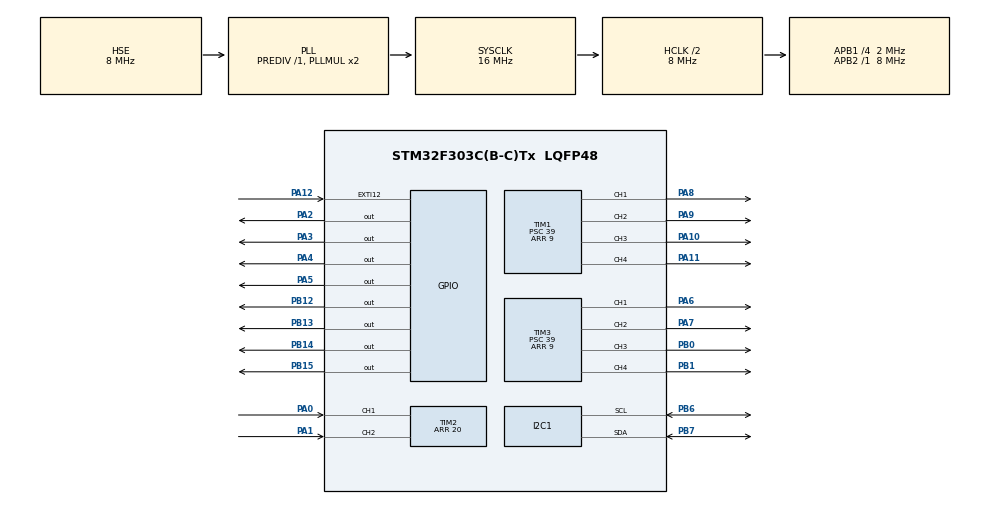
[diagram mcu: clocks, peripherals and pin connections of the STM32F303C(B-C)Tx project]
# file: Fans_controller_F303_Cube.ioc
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FREERTOS.Tasks01=updateScreen,0,256,StartDefaultTask,Default,NULL,Dynamic,NULL,NULL;configuringPara,0,256,StartTask02,Default,NULL,Dynamic,NULL,NULL
FREERTOS.configTOTAL_HEAP_SIZE=2560
IWDG.Prescaler=IWDG_PRESCALER_32
IWDG.Reload=2499
IWDG.Window=2499
Mcu.Family=STM32F3
Mcu.Name=STM32F303C(B-C)Tx
Mcu.Package=LQFP48
NVIC.EXTI15_10_IRQn=true\:5\:0\:false\:false\:true\:true\:true\:true
NVIC.PriorityGroup=NVIC_PRIORITYGROUP_4
NVIC.RTC_Alarm_IRQn=true\:5\:0\:false\:false\:true\:true\:true\:true
NVIC.TIM1_TRG_COM_TIM17_IRQn=true\:5\:0\:false\:false\:true\:false\:false\:true
NVIC.TIM2_IRQn=true\:5\:0\:false\:false\:true\:true\:true\:true
NVIC.TIM4_IRQn=true\:5\:0\:false\:false\:true\:true\:true\:true
NVIC.TIM6_DAC_IRQn=true\:5\:0\:false\:false\:true\:true\:true\:true
NVIC.TIM8_UP_IRQn=true\:0\:0\:false\:false\:true\:false\:false\:true
NVIC.TimeBase=TIM8_UP_IRQn
NVIC.TimeBaseIP=TIM8
PA0.GPIO_PuPd=GPIO_PULLUP
PA0.Signal=S_TIM2_CH1_ETR
PA1.GPIO_PuPd=GPIO_PULLUP
PA1.Signal=S_TIM2_CH2
PA10.Signal=S_TIM1_CH3
PA11.Signal=S_TIM1_CH4
PA12.GPIO_PuPd=GPIO_PULLDOWN
PA12.Signal=GPXTI12
PA13.Mode=Trace_Asynchronous_SW
PA13.Signal=SYS_JTMS-SWDIO
PA14.Mode=Trace_Asynchronous_SW
PA14.Signal=SYS_JTCK-SWCLK
PA2.Signal=GPIO_Output
PA3.Signal=GPIO_Output
PA4.Signal=GPIO_Output
PA5.Signal=GPIO_Output
PA6.Signal=S_TIM3_CH1
PA7.Signal=S_TIM3_CH2
PA8.Signal=S_TIM1_CH1
PA9.Signal=S_TIM1_CH2
PB0.Signal=S_TIM3_CH3
PB1.Signal=S_TIM3_CH4
PB12.GPIO_PuPd=GPIO_PULLDOWN
PB12.GPIO_Speed=GPIO_SPEED_FREQ_MEDIUM
PB12.PinState=GPIO_PIN_RESET
PB12.Signal=GPIO_Output
PB13.Signal=GPIO_Output
PB14.Signal=GPIO_Output
PB15.Signal=GPIO_Output
PB3.Mode=Trace_Asynchronous_SW
PB3.Signal=SYS_JTDO-TRACESWO
PB6.Mode=I2C
PB6.Signal=I2C1_SCL
PB7.Mode=I2C
PB7.Signal=I2C1_SDA
PC14-OSC32_IN.Mode=LSE-External-Oscillator
PC14-OSC32_IN.Signal=RCC_OSC32_IN
PC15-OSC32_OUT.Mode=LSE-External-Oscillator
PC15-OSC32_OUT.Signal=RCC_OSC32_OUT
PF0-OSC_IN.Mode=HSE-External-Oscillator
PF0-OSC_IN.Signal=RCC_OSC_IN
PF1-OSC_OUT.Mode=HSE-External-Oscillator
PF1-OSC_OUT.Signal=RCC_OSC_OUT
ProjectManager.HeapSize=0x800
ProjectManager.StackSize=0x800
ProjectManager.TargetToolchain=STM32CubeIDE
RCC.AHBCLKDivider=RCC_SYSCLK_DIV2
RCC.AHBFreq_Value=8000000
RCC.APB1CLKDivider=RCC_HCLK_DIV4
RCC.APB1Freq_Value=2000000
RCC.APB1TimFreq_Value=4000000
RCC.APB2Freq_Value=8000000
RCC.APB2TimFreq_Value=8000000
RCC.CortexFreq_Value=8000000
RCC.HCLKFreq_Value=8000000
RCC.HSE_VALUE=8000000
RCC.HSI_VALUE=8000000
RCC.PLLSourceVirtual=RCC_PLLSOURCE_HSE
RCC.RTCClockSelection=RCC_RTCCLKSOURCE_LSE
RCC.SYSCLKFreq_VALUE=16000000
RCC.SYSCLKSourceVirtual=RCC_SYSCLKSOURCE_PLLCLK
RCC.USBFreq_Value=16000000
RTC.Alarm-Alarm\ A=RTC_ALARM_A
RTC.AlarmMaskDateWeekDay-Alarm\ A=RTC_ALARMMASK_DATEWEEKDAY
RTC.Format=RTC_FORMAT_BIN
RTC.Hours=23
RTC.Minutes=59
RTC.Seconds=50
RTC.Seconds_A-Alarm\ A=2
SH.S_TIM1_CH1.0=TIM1_CH1,PWM Generation1 CH1
SH.S_TIM1_CH2.0=TIM1_CH2,PWM Generation2 CH2
SH.S_TIM1_CH3.0=TIM1_CH3,PWM Generation3 CH3
SH.S_TIM1_CH4.0=TIM1_CH4,PWM Generation4 CH4
SH.S_TIM2_CH1_ETR.0=TIM2_CH1,Encoder_Interface
SH.S_TIM2_CH2.0=TIM2_CH2,Encoder_Interface
SH.S_TIM3_CH1.0=TIM3_CH1,PWM Generation1 CH1
SH.S_TIM3_CH2.0=TIM3_CH2,PWM Generation2 CH2
SH.S_TIM3_CH3.0=TIM3_CH3,PWM Generation3 CH3
SH.S_TIM3_CH4.0=TIM3_CH4,PWM Generation4 CH4
TIM1.Channel-PWM\ Generation1\ CH1=TIM_CHANNEL_1
TIM1.Channel-PWM\ Generation2\ CH2=TIM_CHANNEL_2
TIM1.Channel-PWM\ Generation3\ CH3=TIM_CHANNEL_3
TIM1.Channel-PWM\ Generation4\ CH4=TIM_CHANNEL_4
TIM1.OCPolarity_1=TIM_OCPOLARITY_LOW
TIM1.OCPolarity_2=TIM_OCPOLARITY_LOW
TIM1.OCPolarity_3=TIM_OCPOLARITY_LOW
TIM1.OCPolarity_4=TIM_OCPOLARITY_LOW
TIM1.Period=9
TIM1.Prescaler=39
TIM2.EncoderMode=TIM_ENCODERMODE_TI2
TIM2.IC1Filter=7
TIM2.IC2Filter=15
TIM2.Period=20
TIM3.Channel-PWM\ Generation1\ CH1=TIM_CHANNEL_1
TIM3.Channel-PWM\ Generation2\ CH2=TIM_CHANNEL_2
TIM3.Channel-PWM\ Generation3\ CH3=TIM_CHANNEL_3
TIM3.Channel-PWM\ Generation4\ CH4=TIM_CHANNEL_4
TIM3.OCPolarity_1=TIM_OCPOLARITY_LOW
TIM3.OCPolarity_2=TIM_OCPOLARITY_LOW
TIM3.OCPolarity_3=TIM_OCPOLARITY_LOW
TIM3.OCPolarity_4=TIM_OCPOLARITY_LOW
TIM3.Period=9
TIM3.Prescaler=39
TIM4.Period=1999
TIM4.Prescaler=7999
TIM6.Period=999
TIM6.Prescaler=7999
VP_FREERTOS_VS_CMSIS_V1.Mode=CMSIS_V1
VP_IWDG_VS_IWDG.Mode=IWDG_Activate
VP_RTC_VS_RTC_Activate.Mode=RTC_Enabled
VP_RTC_VS_RTC_Alarm_A_Intern.Mode=Alarm A
VP_RTC_VS_RTC_Calendar.Mode=RTC_Calendar
VP_SYS_VS_tim8.Mode=TIM8
VP_TIM4_VS_ClockSourceINT.Mode=Internal
VP_TIM6_VS_ClockSourceINT.Mode=Enable_Timer
board=custom

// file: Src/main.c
/* USER CODE BEGIN Header */
/**
 ******************************************************************************
 * @file           : main.c
 * @brief          : Main program body
 ******************************************************************************
 * @attention
 *
 * <h2><center>&copy; Copyright (c) 2021 STMicroelectronics.
 * All rights reserved.</center></h2>
 *
 * This software component is licensed by ST under Ultimate Liberty license
 * SLA0044, the "License"; You may not use this file except in compliance with
 * the License. You may obtain a copy of the License at:
 *                             www.st.com/SLA0044
 *
 ******************************************************************************
 */
//После загрузки cube mx
// 1)закоментировать в функции MX_RTC_Init();:
//  RTC_TimeTypeDef sTime = {0};
//  RTC_DateTypeDef sDate = {0};
//  sTime.Hours = 23;
//  sTime.Minutes = 59;
//  sTime.Seconds = 50;
//  if (HAL_RTC_SetTime(&hrtc, &sTime, RTC_FORMAT_BIN) != HAL_OK)
//  {
//    Error_Handler();
//  }
//  sDate.WeekDay = RTC_WEEKDAY_MONDAY;
//  sDate.Month = RTC_MONTH_JANUARY;
//  sDate.Date = 1;
//  sDate.Year = 0;
//if (HAL_RTC_SetDate(&hrtc, &sDate, RTC_FORMAT_BIN) != HAL_OK)
//{
//Error_Handler();
//}
//2) добавить в структуру RTC_TimeTypeDef;:
//uint32_t FullTime;
/* USER CODE END Header */

#include <main.h>
#include "cmsis_os.h"
#include "i2c.h"
#include "iwdg.h"
#include "rtc.h"
#include "tim.h"
#include "gpio.h"

/* USER CODE BEGIN Includes */

#include "ssd1306.h"
#include "stdio.h"
#include "stdlib.h"
#include "storingSettings.h"
#include "fans.h"
#include "fillMenu.h"
#include "FreeRTOS.h"

//#include "testPlus.h"
/* USER CODE END Includes */

/* USER CODE BEGIN PV */
RTC_TimeTypeDef currentTime = { 0 }; // Текущее время, обновляется ежесекундно (RTC)
RTC_TimeTypeDef userTime = { 0 }; // Время, для отображения в меню установки времени, обновляется в момент входа в меню установки времени
RTC_TimeTypeDef dayOn = { 0 };
RTC_TimeTypeDef dayOff = { 0 };
RTC_DateTypeDef currentDate = { 0 }; // Current date
RTC_DateTypeDef userDate = { 0 }; //To set the date by the a user
/* USER CODE END PV */

void SystemClock_Config(void);
void MX_FREERTOS_Init(void);

int main(void) {

	/* MCU Configuration--------------------------------------------------------*/

	/* Reset of all peripherals, Initializes the Flash interface and the Systick. */
	HAL_Init();

	/* Configure the system clock */
	SystemClock_Config();

	/* Initialize all configured peripherals */
	MX_GPIO_Init();
	MX_I2C1_Init();
	MX_RTC_Init();
	MX_TIM1_Init();
	MX_TIM2_Init();
	MX_TIM3_Init();
	MX_TIM4_Init();
	MX_TIM6_Init();
	MX_IWDG_Init();
	/* USER CODE BEGIN 2 */
	HAL_IWDG_Refresh(&hiwdg);
	HAL_TIM_Base_Start_IT(&htim4); //Timer4 need to switch DayHigh and DayLow. Value saved into TIM4->ARR.
	HAL_TIM_Base_Start_IT(&htim6);
	HAL_TIM_Encoder_Start_IT(&htim2, TIM_CHANNEL_2); //Timer2 need for Encoder
	HAL_TIM_PWM_Start(&htim1, TIM_CHANNEL_1); // Start CHANNEL_1. Define speed fan1.
	HAL_TIM_PWM_Start(&htim1, TIM_CHANNEL_2); // Start CHANNEL_2. Define speed fan2.
	HAL_TIM_PWM_Start(&htim1, TIM_CHANNEL_3); // Start CHANNEL_3. Define speed fan3.
	HAL_TIM_PWM_Start(&htim1, TIM_CHANNEL_4); // Start CHANNEL_4. Define speed fan4.
	HAL_TIM_PWM_Start(&htim3, TIM_CHANNEL_1);
	HAL_TIM_PWM_Start(&htim3, TIM_CHANNEL_2);
	HAL_TIM_PWM_Start(&htim3, TIM_CHANNEL_3);
	HAL_TIM_PWM_Start(&htim3, TIM_CHANNEL_4);
	HAL_RTC_GetTime(&hrtc, &currentTime, RTC_FORMAT_BIN);
	HAL_RTC_GetDate(&hrtc, &currentDate, RTC_FORMAT_BIN);
	//Дата обновляется не сразу, поэтому требуется задержка:
	while (currentDate.Year == 0 && currentDate.Month == 0 && currentDate.Date == 0) {
		HAL_Delay(1);
	}
	HAL_Delay(500);
	FANS_CalculationDate();  // переводим текущую дату в число
	STORING_ReadSetting();
	STORING_CheckFirstStart(); //проверяем, что прошивка новая
	FANS_FillProgram(curMainMenu); //функция заполняет массивы циклов из данных о количестве дней и режимов
	FANS_UpdateCyrrentDays(); //Cчитаем текущие дни
	MENU_Fill();
	ssd1306_Init();
	ssd1306_on();
	/* USER CODE END 2 */

	/* Call init function for freertos objects (in freertos.c) */

	MX_FREERTOS_Init();

	/* Start scheduler */

	//---------------
	//---------------
	osKernelStart();

	/* We should never get here as control is now taken by the scheduler */
	/* Infinite loop */
	while (1) {

	}
}

void SystemClock_Config(void) {
	RCC_OscInitTypeDef RCC_OscInitStruct = { 0 };
	RCC_ClkInitTypeDef RCC_ClkInitStruct = { 0 };
	RCC_PeriphCLKInitTypeDef PeriphClkInit = { 0 };

	/** Configure LSE Drive Capability
	 */
	HAL_PWR_EnableBkUpAccess();
	__HAL_RCC_LSEDRIVE_CONFIG(RCC_LSEDRIVE_LOW);
	/** Initializes the CPU, AHB and APB busses clocks
	 */
	RCC_OscInitStruct.OscillatorType = RCC_OSCILLATORTYPE_HSI | RCC_OSCILLATORTYPE_LSI | RCC_OSCILLATORTYPE_HSE | RCC_OSCILLATORTYPE_LSE;
	RCC_OscInitStruct.HSEState = RCC_HSE_ON;
	RCC_OscInitStruct.HSEPredivValue = RCC_HSE_PREDIV_DIV1;
	RCC_OscInitStruct.LSEState = RCC_LSE_ON;
	RCC_OscInitStruct.HSIState = RCC_HSI_ON;
	RCC_OscInitStruct.HSICalibrationValue = RCC_HSICALIBRATION_DEFAULT;
	RCC_OscInitStruct.LSIState = RCC_LSI_ON;
	RCC_OscInitStruct.PLL.PLLState = RCC_PLL_ON;
	RCC_OscInitStruct.PLL.PLLSource = RCC_PLLSOURCE_HSE;
	RCC_OscInitStruct.PLL.PLLMUL = RCC_PLL_MUL2;
	if (HAL_RCC_OscConfig(&RCC_OscInitStruct) != HAL_OK) {
		Error_Handler();
	}
	/** Initializes the CPU, AHB and APB busses clocks
	 */
	RCC_ClkInitStruct.ClockType = RCC_CLOCKTYPE_HCLK | RCC_CLOCKTYPE_SYSCLK | RCC_CLOCKTYPE_PCLK1 | RCC_CLOCKTYPE_PCLK2;
	RCC_ClkInitStruct.SYSCLKSource = RCC_SYSCLKSOURCE_PLLCLK;
	RCC_ClkInitStruct.AHBCLKDivider = RCC_SYSCLK_DIV2;
	RCC_ClkInitStruct.APB1CLKDivider = RCC_HCLK_DIV4;
	RCC_ClkInitStruct.APB2CLKDivider = RCC_HCLK_DIV1;

	if (HAL_RCC_ClockConfig(&RCC_ClkInitStruct, FLASH_LATENCY_0) != HAL_OK) {
		Error_Handler();
	}
	PeriphClkInit.PeriphClockSelection = RCC_PERIPHCLK_I2C1 | RCC_PERIPHCLK_RTC | RCC_PERIPHCLK_TIM1;
	PeriphClkInit.I2c1ClockSelection = RCC_I2C1CLKSOURCE_HSI;
	PeriphClkInit.RTCClockSelection = RCC_RTCCLKSOURCE_LSE;
	PeriphClkInit.Tim1ClockSelection = RCC_TIM1CLK_HCLK;
	if (HAL_RCCEx_PeriphCLKConfig(&PeriphClkInit) != HAL_OK) {
		Error_Handler();
	}
}

/* USER CODE BEGIN 4 */

int _write(int file, char *ptr, int len) {
	int DataIdx;
	for (DataIdx = 0; DataIdx < len; DataIdx++) {
		ITM_SendChar(*ptr++);
	}
	return len;
}

/* USER CODE END 4 */

void HAL_TIM_PeriodElapsedCallback(TIM_HandleTypeDef *htim) {
	/* USER CODE BEGIN Callback 0 */
	if (htim->Instance == TIM4) //check if the interrupt comes from TIM4
	{
		g_operatingMode = !g_operatingMode;
	}
	/* USER CODE END Callback 0 */
	if (htim->Instance == TIM8) {
		HAL_IncTick();
	}
}

void Error_Handler(void) {
}

/************************ (C) COPYRIGHT STMicroelectronics *****END OF FILE****/

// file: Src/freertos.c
/* USER CODE BEGIN Header */
/**
 ******************************************************************************
 * File Name          : freertos.c
 * Description        : Code for freertos applications
 ******************************************************************************
 * @attention
 *
 * <h2><center>&copy; Copyright (c) 2021 STMicroelectronics.
 * All rights reserved.</center></h2>
 *
 * This software component is licensed by ST under Ultimate Liberty license
 * SLA0044, the "License"; You may not use this file except in compliance with
 * the License. You may obtain a copy of the License at:
 *                             www.st.com/SLA0044
 *
 ******************************************************************************
 */
/* USER CODE END Header */

#include <main.h>
#include "FreeRTOS.h"
#include "task.h"
#include "cmsis_os.h"

/* USER CODE BEGIN Includes */
#include "ssd1306.h"
#include "stdio.h"
#include "stdlib.h"
#include "fillMenu.h"
#include "rtc.h"
#include "storingSettings.h"
#include "display.h"
#include "fans.h"
#include "iwdg.h"
#include "keyboard.h"

/* USER CODE END Includes */

/* USER CODE BEGIN Variables */

static uint32_t timeNow = 0;
/* USER CODE END Variables */
osThreadId updateScreenHandle;
osThreadId configuringParaHandle;

void ScreenAndButtonTask(void const *argument);
void FansTask(void const *argument);

void MX_FREERTOS_Init(void); /* (MISRA C 2004 rule 8.1) */

/* GetIdleTaskMemory prototype (linked to static allocation support) */
void vApplicationGetIdleTaskMemory(StaticTask_t **ppxIdleTaskTCBBuffer, StackType_t **ppxIdleTaskStackBuffer, uint32_t *pulIdleTaskStackSize);

/* USER CODE BEGIN GET_IDLE_TASK_MEMORY */
static StaticTask_t xIdleTaskTCBBuffer;
static StackType_t xIdleStack[configMINIMAL_STACK_SIZE];

void vApplicationGetIdleTaskMemory(StaticTask_t **ppxIdleTaskTCBBuffer, StackType_t **ppxIdleTaskStackBuffer, uint32_t *pulIdleTaskStackSize) {
	*ppxIdleTaskTCBBuffer = &xIdleTaskTCBBuffer;
	*ppxIdleTaskStackBuffer = &xIdleStack[0];
	*pulIdleTaskStackSize = configMINIMAL_STACK_SIZE;
	/* place for user code */
}
/* USER CODE END GET_IDLE_TASK_MEMORY */

void MX_FREERTOS_Init(void) {

	/* Create the thread(s) */
	/* definition and creation of updateScreen */
	osThreadDef(updateScreen, ScreenAndButtonTask, osPriorityNormal, 0, 256);
	updateScreenHandle = osThreadCreate(osThread(updateScreen), NULL);

	/* definition and creation of configuringPara */
	osThreadDef(configuringPara, FansTask, osPriorityNormal, 0, 256);
	configuringParaHandle = osThreadCreate(osThread(configuringPara), NULL);

}

void ScreenAndButtonTask(void const *argument) {
	/* USER CODE BEGIN ScreenAndButtonTask */
	/* Infinite loop */
	for (;;) {
		//кнопка
		if (NVIC_GetEnableIRQ(EXTI15_10_IRQn) == 0) {//если прерывания выключены
			if (ssd1306_CheckDisplayStatus() == SSD1306_ON) { // если дисплей включен
				KEYBOARD_ButtonClick();
			} else { //если дисплей выключен, включаем дисплей
				ssd1306_on();
			}
			// в любом случае включаем прирывания кнопки и сбрасываем флаг
			__HAL_GPIO_EXTI_CLEAR_IT(GPIO_PIN_12);
			NVIC_ClearPendingIRQ(EXTI15_10_IRQn);
			HAL_NVIC_EnableIRQ(EXTI15_10_IRQn);
		} //кнопка	END

		// выключаем дисплей, после указаного периода
		if (((HAL_GetTick() - timeOfLastClick) > DISPLAY_DOWNTIME) && ssd1306_CheckDisplayStatus()) {
			ssd1306_off();
			STORING_SaveSetting();
		} else {
			DISPLAY_ShowMenu();
		}
		osDelay(50);
	}
	/* USER CODE END ScreenAndButtonTask */
}

void FansTask(void const *argument) {
	/* USER CODE BEGIN FansTask */
	/* Infinite loop */
	for (;;) {
		uint32_t startTimeFansTask = HAL_GetTick();

		HAL_RTC_GetTime(&hrtc, &currentTime, RTC_FORMAT_BIN);	// получение времени
		HAL_RTC_GetDate(&hrtc, &currentDate, RTC_FORMAT_BIN);	// получение даты. НЕОБХОДИМО для получения времени.

		timeNow = (uint32_t) (((uint32_t) currentTime.Hours * 3600U) + ((uint32_t) currentTime.Minutes * 60U) + ((uint32_t) currentTime.Seconds)); //Преобразуем время из структуры в одно число

		//  определяем день или ночь
		if (timeNow < dayOn.FullTime || timeNow > dayOff.FullTime) {
			g_timeOfDay = FANS_TIME_NIGHT;
		} else {
			g_timeOfDay = FANS_TIME_DAY;
		}

		FANS_SetSpeed(); //устанавливаем скорость для всех вентиляторов

		//Переключение суток
		if (g_flagNewDay) {
			FANS_CalculationDate();  // переводим текущую дату в число
			FANS_UpdateCyrrentDays(); //считаем текущие дни
			g_flagNewDay = 0;
		}

		HAL_IWDG_Refresh(&hiwdg); //Сбрасываем сторожевой таймер
		uint32_t runTimeFansTask = HAL_GetTick() - startTimeFansTask;

		osDelay(1000 - runTimeFansTask);

	}
	/* USER CODE END FansTask */
}

/************************ (C) COPYRIGHT STMicroelectronics *****END OF FILE****/
